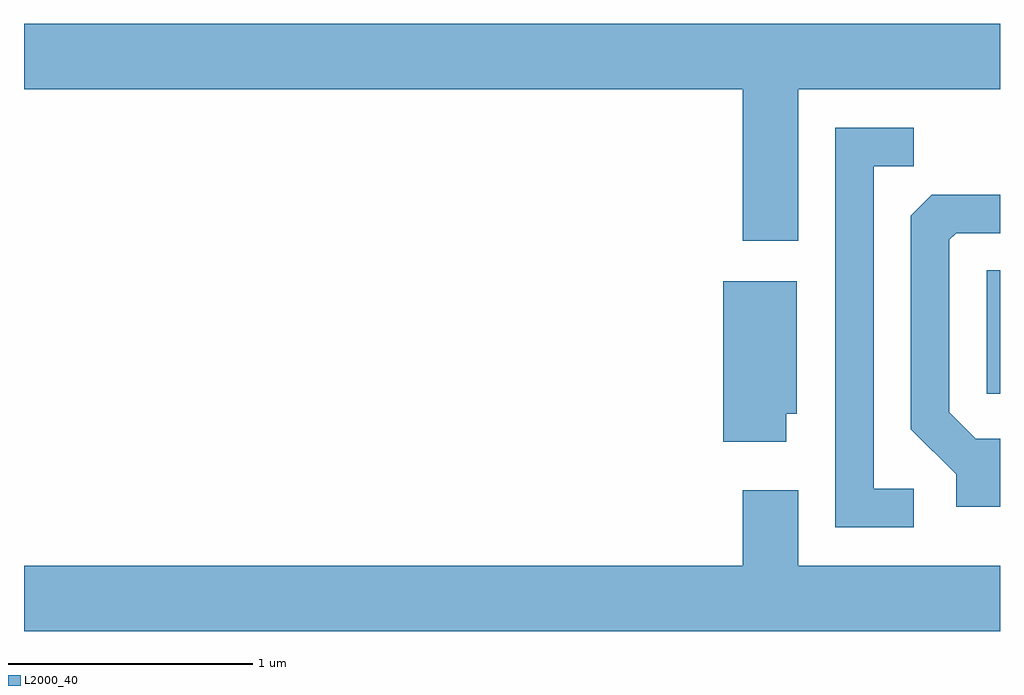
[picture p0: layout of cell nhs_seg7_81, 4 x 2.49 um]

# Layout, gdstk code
import gdstk
lib = gdstk.Library(unit=1e-6, precision=1e-09)
def R(c, l, rs):  # rectangles x0, y0, x1, y1
    for r in rs: c.add(gdstk.rectangle(r[:2], r[2:], *l))
def P(c, l, *ps):  # polygons
    for p in ps: c.add(gdstk.Polygon(p, *l))
L2000_40 = (2000, 40)

nhs_seg7_81 = lib.new_cell('nhs_seg7_81')
R(nhs_seg7_81, L2000_40, [(191.556,1695.308,191.611,1695.814)])
P(nhs_seg7_81, L2000_40, [(190.784,1696.556),(191.611,1696.556),(191.611,1696.824),(187.611,1696.824),(187.611,1696.556),(190.556,1696.556),(190.556,1695.936),(190.784,1695.936)],
  [(191.258,1694.919),(191.094,1694.919),(191.094,1696.241),(191.258,1696.241),(191.258,1696.399),(190.936,1696.399),(190.936,1694.761),(191.258,1694.761)],
  [(191.611,1695.124),(191.512,1695.124),(191.404,1695.232),(191.404,1695.939),(191.432,1695.966),(191.611,1695.966),(191.611,1696.124),(191.332,1696.124),(191.246,1696.039),(191.246,1695.164),(191.431,1694.979),(191.431,1694.846),(191.611,1694.846)],
  [(190.734,1695.226),(190.779,1695.226),(190.779,1695.769),(190.476,1695.769),(190.476,1695.111),(190.734,1695.111)],
  [(191.611,1694.604),(190.784,1694.604),(190.784,1694.914),(190.556,1694.914),(190.556,1694.604),(187.611,1694.604),(187.611,1694.336),(191.611,1694.336)])

lib.write_gds('nhs_seg7_81.gds')
